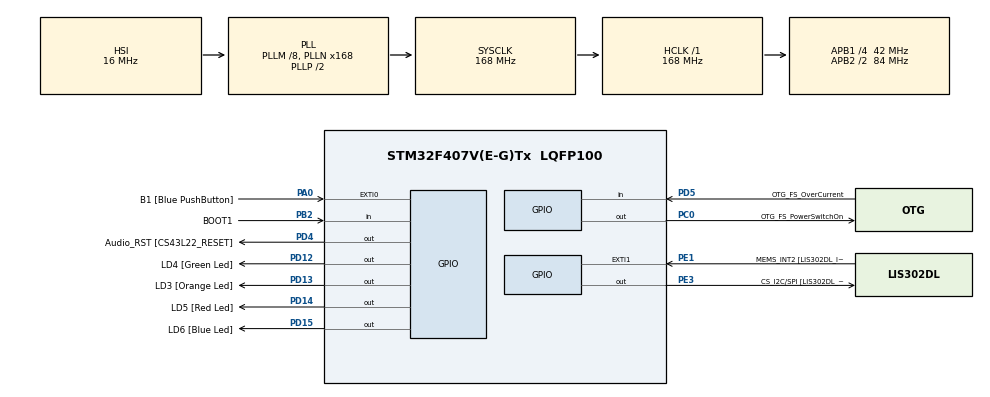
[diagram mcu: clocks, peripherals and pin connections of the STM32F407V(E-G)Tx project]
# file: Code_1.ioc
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Mcu.Family=STM32F4
Mcu.Name=STM32F407V(E-G)Tx
Mcu.Package=LQFP100
NVIC.PriorityGroup=NVIC_PRIORITYGROUP_4
NVIC.TIM6_DAC_IRQn=true\:0\:0\:false\:false\:true\:false\:true\:true
NVIC.TimeBase=TIM6_DAC_IRQn
NVIC.TimeBaseIP=TIM6
PA0-WKUP.GPIO_Label=B1 [Blue PushButton]
PA0-WKUP.Signal=GPXTI0
PA10.GPIO_Label=OTG_FS_ID
PA10.GPIO_Mode=GPIO_MODE_AF_PP
PA10.GPIO_PuPd=GPIO_NOPULL
PA10.GPIO_Speed=GPIO_SPEED_FREQ_LOW
PA10.Signal=USB_OTG_FS_ID
PA11.GPIO_Label=OTG_FS_DM
PA11.GPIO_Mode=GPIO_MODE_AF_PP
PA11.GPIO_PuPd=GPIO_NOPULL
PA11.GPIO_Speed=GPIO_SPEED_FREQ_LOW
PA11.Signal=USB_OTG_FS_DM
PA12.GPIO_Label=OTG_FS_DP
PA12.GPIO_Mode=GPIO_MODE_AF_PP
PA12.GPIO_PuPd=GPIO_NOPULL
PA12.GPIO_Speed=GPIO_SPEED_FREQ_LOW
PA12.Signal=USB_OTG_FS_DP
PA13.GPIO_Label=SWDIO
PA13.Signal=SYS_JTMS-SWDIO
PA14.GPIO_Label=SWCLK
PA14.Signal=SYS_JTCK-SWCLK
PA4.GPIO_Label=I2S3_WS [CS43L22_LRCK]
PA4.GPIO_Mode=GPIO_MODE_AF_PP
PA4.GPIO_PuPd=GPIO_NOPULL
PA4.GPIO_Speed=GPIO_SPEED_FREQ_LOW
PA4.Signal=I2S3_WS
PA5.GPIO_Label=SPI1_SCK [LIS302DL_SCL/SPC]
PA5.GPIO_Mode=GPIO_MODE_AF_PP
PA5.GPIO_PuPd=GPIO_NOPULL
PA5.GPIO_Speed=GPIO_SPEED_FREQ_LOW
PA5.Signal=SPI1_SCK
PA6.GPIO_Label=SPI1_MISO [LIS302DL_SDO]
PA6.GPIO_Mode=GPIO_MODE_AF_PP
PA6.GPIO_PuPd=GPIO_NOPULL
PA6.GPIO_Speed=GPIO_SPEED_FREQ_LOW
PA6.Signal=SPI1_MISO
PA7.GPIO_Label=SPI1_MOSI [LIS302DL_SDA/SDI/SDO]
PA7.GPIO_Mode=GPIO_MODE_AF_PP
PA7.GPIO_PuPd=GPIO_NOPULL
PA7.GPIO_Speed=GPIO_SPEED_FREQ_LOW
PA7.Signal=SPI1_MOSI
PA9.GPIO_Label=VBUS_FS
PA9.GPIO_Mode=GPIO_MODE_INPUT
PA9.GPIO_PuPd=GPIO_NOPULL
PA9.Signal=USB_OTG_FS_VBUS
PB10.GPIO_Label=CLK_IN [MP45DT02_CLK]
PB10.GPIO_Mode=GPIO_MODE_AF_PP
PB10.GPIO_PuPd=GPIO_NOPULL
PB10.GPIO_Speed=GPIO_SPEED_FREQ_LOW
PB10.Signal=I2S2_CK
PB2.GPIO_Label=BOOT1
PB2.GPIO_Mode=GPIO_MODE_INPUT
PB2.GPIO_PuPd=GPIO_NOPULL
PB2.Signal=GPIO_Input
PB3.GPIO_Label=SWO
PB3.Signal=SYS_JTDO-SWO
PB6.GPIO_Label=Audio_SCL [CS43L22_SCL]
PB6.GPIO_Mode=GPIO_MODE_AF_OD
PB6.GPIO_PuPd=GPIO_NOPULL
PB6.GPIO_Speed=GPIO_SPEED_FREQ_LOW
PB6.Signal=I2C1_SCL
PB9.GPIO_Label=Audio_SDA [CS43L22_SDA]
PB9.GPIO_Mode=GPIO_MODE_AF_OD
PB9.GPIO_PuPd=GPIO_NOPULL
PB9.GPIO_Speed=GPIO_SPEED_FREQ_LOW
PB9.Signal=I2C1_SDA
PC0.GPIO_Label=OTG_FS_PowerSwitchOn
PC0.GPIO_PuPd=GPIO_NOPULL
PC0.GPIO_Speed=GPIO_SPEED_FREQ_LOW
PC0.PinState=GPIO_PIN_SET
PC0.Signal=GPIO_Output
PC10.GPIO_Label=I2S3_SCK [CS43L22_SCLK]
PC10.GPIO_Mode=GPIO_MODE_AF_PP
PC10.GPIO_PuPd=GPIO_NOPULL
PC10.GPIO_Speed=GPIO_SPEED_FREQ_LOW
PC10.Signal=I2S3_CK
PC12.GPIO_Label=I2S3_SD [CS43L22_SDIN]
PC12.GPIO_Mode=GPIO_MODE_AF_PP
PC12.GPIO_PuPd=GPIO_NOPULL
PC12.GPIO_Speed=GPIO_SPEED_FREQ_LOW
PC12.Signal=I2S3_SD
PC14-OSC32_IN.GPIO_Label=PC14-OSC32_IN
PC14-OSC32_IN.Signal=RCC_OSC32_IN
PC15-OSC32_OUT.GPIO_Label=PC15-OSC32_OUT
PC15-OSC32_OUT.Signal=RCC_OSC32_OUT
PC3.GPIO_Label=PDM_OUT [MP45DT02_DOUT]
PC3.GPIO_Mode=GPIO_MODE_AF_PP
PC3.GPIO_PuPd=GPIO_NOPULL
PC3.GPIO_Speed=GPIO_SPEED_FREQ_LOW
PC3.Signal=I2S2_SD
PC7.GPIO_Label=I2S3_MCK [CS43L22_MCLK]
PC7.GPIO_Mode=GPIO_MODE_AF_PP
PC7.GPIO_PuPd=GPIO_NOPULL
PC7.GPIO_Speed=GPIO_SPEED_FREQ_LOW
PC7.Signal=I2S3_MCK
PD12.GPIO_Label=LD4 [Green Led]
PD12.GPIO_PuPd=GPIO_NOPULL
PD12.GPIO_Speed=GPIO_SPEED_FREQ_LOW
PD12.Signal=GPIO_Output
PD13.GPIO_Label=LD3 [Orange Led]
PD13.GPIO_PuPd=GPIO_NOPULL
PD13.GPIO_Speed=GPIO_SPEED_FREQ_LOW
PD13.Signal=GPIO_Output
PD14.GPIO_Label=LD5 [Red Led]
PD14.GPIO_PuPd=GPIO_NOPULL
PD14.GPIO_Speed=GPIO_SPEED_FREQ_LOW
PD14.Signal=GPIO_Output
PD15.GPIO_Label=LD6 [Blue Led]
PD15.GPIO_PuPd=GPIO_NOPULL
PD15.GPIO_Speed=GPIO_SPEED_FREQ_LOW
PD15.Signal=GPIO_Output
PD4.GPIO_Label=Audio_RST [CS43L22_RESET]
PD4.GPIO_PuPd=GPIO_NOPULL
PD4.GPIO_Speed=GPIO_SPEED_FREQ_LOW
PD4.Signal=GPIO_Output
PD5.GPIO_Label=OTG_FS_OverCurrent
PD5.GPIO_Mode=GPIO_MODE_INPUT
PD5.GPIO_PuPd=GPIO_NOPULL
PD5.Signal=GPIO_Input
PE1.GPIO_Label=MEMS_INT2 [LIS302DL_INT2]
PE1.GPIO_ModeDefaultEXTI=GPIO_MODE_EVT_RISING
PE1.GPIO_PuPd=GPIO_NOPULL
PE1.Signal=GPXTI1
PE3.GPIO_Label=CS_I2C/SPI [LIS302DL_CS_I2C/SPI]
PE3.GPIO_PuPd=GPIO_NOPULL
PE3.GPIO_Speed=GPIO_SPEED_FREQ_LOW
PE3.Signal=GPIO_Output
PH0-OSC_IN.GPIO_Label=PH0-OSC_IN
PH0-OSC_IN.Signal=RCC_OSC_IN
PH1-OSC_OUT.GPIO_Label=PH1-OSC_OUT
PH1-OSC_OUT.Signal=RCC_OSC_OUT
ProjectManager.HeapSize=0x200
ProjectManager.StackSize=0x400
ProjectManager.TargetToolchain=STM32CubeIDE
RCC.48MHZClocksFreq_Value=48000000
RCC.AHBFreq_Value=168000000
RCC.APB1CLKDivider=RCC_HCLK_DIV4
RCC.APB1Freq_Value=42000000
RCC.APB1TimFreq_Value=84000000
RCC.APB2CLKDivider=RCC_HCLK_DIV2
RCC.APB2Freq_Value=84000000
RCC.APB2TimFreq_Value=168000000
RCC.CortexFreq_Value=168000000
RCC.HCLKFreq_Value=168000000
RCC.HSE_VALUE=8000000
RCC.HSI_VALUE=16000000
RCC.LSE_VALUE=32768
RCC.PLLM=8
RCC.PLLN=168
RCC.PLLQ=7
RCC.SYSCLKFreq_VALUE=168000000
RCC.SYSCLKSource=RCC_SYSCLKSOURCE_PLLCLK
RCC.VCOOutputFreq_Value=336000000
VP_SYS_VS_tim6.Mode=TIM6
board=STM32F407G-DISC1

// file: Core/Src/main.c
/* USER CODE BEGIN Header */
/**
  ******************************************************************************
  * @file           : main.c
  * @brief          : Main program body
  ******************************************************************************
  * @attention
  *
  * Copyright (c) 2025 STMicroelectronics.
  * All rights reserved.
  *
  * This software is licensed under terms that can be found in the LICENSE file
  * in the root directory of this software component.
  * If no LICENSE file comes with this software, it is provided AS-IS.
  *
  ******************************************************************************
  */
/* USER CODE END Header */
#include "main.h"

/* USER CODE BEGIN Includes */
#include "FreeRTOS.h"
#include "task.h"
#include <stdio.h>
/* USER CODE END Includes */

/* USER CODE BEGIN PV */

#define DWT_CTRL	(*(volatile uint32_t *)0xE0001000)

/* USER CODE END PV */

void SystemClock_Config(void);
static void MX_GPIO_Init(void);
/* USER CODE BEGIN PFP */

void task_handler1(void *);
void task_handler2(void *);

extern void SEGGER_UART_init(uint32_t);
/* USER CODE END PFP */

int main(void)
{

  /* USER CODE BEGIN 1 */
	TaskHandle_t Task_Handler1, Task_Handler2;
	BaseType_t status;
  /* USER CODE END 1 */

  /* MCU Configuration--------------------------------------------------------*/

  /* Reset of all peripherals, Initializes the Flash interface and the Systick. */
  HAL_Init();

  /* Configure the system clock */
  SystemClock_Config();

  /* Initialize all configured peripherals */
  MX_GPIO_Init();
  /* USER CODE BEGIN 2 */
  SEGGER_UART_init(500000);
  //Enable CYCCNT counter
  DWT_CTRL |= ( 1 << 0);

  //SEGGER_UART_init(500000);
  SEGGER_SYSVIEW_Conf();
  //SEGGER_SYSVIEW_Start();

  status = xTaskCreate(task_handler1, "Task1", 200, "Hello from Task1", 4, &Task_Handler1);
  configASSERT(status == pdPASS);

  status = xTaskCreate(task_handler2, "Task2", 200, "Hello from Task2", 4, &Task_Handler2);
  configASSERT(status == pdPASS);

  vTaskStartScheduler();

  // Insufficient memory in heap then control comes here
  /* USER CODE END 2 */

  /* Infinite loop */
  while (1)
  {

  }
}

void SystemClock_Config(void)
{
  RCC_OscInitTypeDef RCC_OscInitStruct = {0};
  RCC_ClkInitTypeDef RCC_ClkInitStruct = {0};

  /** Configure the main internal regulator output voltage
  */
  __HAL_RCC_PWR_CLK_ENABLE();
  __HAL_PWR_VOLTAGESCALING_CONFIG(PWR_REGULATOR_VOLTAGE_SCALE1);

  /** Initializes the RCC Oscillators according to the specified parameters
  * in the RCC_OscInitTypeDef structure.
  */
  RCC_OscInitStruct.OscillatorType = RCC_OSCILLATORTYPE_HSI;
  RCC_OscInitStruct.HSIState = RCC_HSI_ON;
  RCC_OscInitStruct.HSICalibrationValue = RCC_HSICALIBRATION_DEFAULT;
  RCC_OscInitStruct.PLL.PLLState = RCC_PLL_ON;
  RCC_OscInitStruct.PLL.PLLSource = RCC_PLLSOURCE_HSI;
  RCC_OscInitStruct.PLL.PLLM = 8;
  RCC_OscInitStruct.PLL.PLLN = 168;
  RCC_OscInitStruct.PLL.PLLP = RCC_PLLP_DIV2;
  RCC_OscInitStruct.PLL.PLLQ = 7;
  if (HAL_RCC_OscConfig(&RCC_OscInitStruct) != HAL_OK)
  {
    Error_Handler();
  }

  /** Initializes the CPU, AHB and APB buses clocks
  */
  RCC_ClkInitStruct.ClockType = RCC_CLOCKTYPE_HCLK|RCC_CLOCKTYPE_SYSCLK
                              |RCC_CLOCKTYPE_PCLK1|RCC_CLOCKTYPE_PCLK2;
  RCC_ClkInitStruct.SYSCLKSource = RCC_SYSCLKSOURCE_PLLCLK;
  RCC_ClkInitStruct.AHBCLKDivider = RCC_SYSCLK_DIV1;
  RCC_ClkInitStruct.APB1CLKDivider = RCC_HCLK_DIV4;
  RCC_ClkInitStruct.APB2CLKDivider = RCC_HCLK_DIV2;

  if (HAL_RCC_ClockConfig(&RCC_ClkInitStruct, FLASH_LATENCY_5) != HAL_OK)
  {
    Error_Handler();
  }
}

static void MX_GPIO_Init(void)
{
  GPIO_InitTypeDef GPIO_InitStruct = {0};

  /* GPIO Ports Clock Enable */
  __HAL_RCC_GPIOE_CLK_ENABLE();
  __HAL_RCC_GPIOC_CLK_ENABLE();
  __HAL_RCC_GPIOH_CLK_ENABLE();
  __HAL_RCC_GPIOA_CLK_ENABLE();
  __HAL_RCC_GPIOB_CLK_ENABLE();
  __HAL_RCC_GPIOD_CLK_ENABLE();

  /*Configure GPIO pin Output Level */
  HAL_GPIO_WritePin(CS_I2C_SPI_GPIO_Port, CS_I2C_SPI_Pin, GPIO_PIN_RESET);

  /*Configure GPIO pin Output Level */
  HAL_GPIO_WritePin(OTG_FS_PowerSwitchOn_GPIO_Port, OTG_FS_PowerSwitchOn_Pin, GPIO_PIN_SET);

  /*Configure GPIO pin Output Level */
  HAL_GPIO_WritePin(GPIOD, LD4_Pin|LD3_Pin|LD5_Pin|LD6_Pin
                          |Audio_RST_Pin, GPIO_PIN_RESET);

  /*Configure GPIO pin : CS_I2C_SPI_Pin */
  GPIO_InitStruct.Pin = CS_I2C_SPI_Pin;
  GPIO_InitStruct.Mode = GPIO_MODE_OUTPUT_PP;
  GPIO_InitStruct.Pull = GPIO_NOPULL;
  GPIO_InitStruct.Speed = GPIO_SPEED_FREQ_LOW;
  HAL_GPIO_Init(CS_I2C_SPI_GPIO_Port, &GPIO_InitStruct);

  /*Configure GPIO pin : OTG_FS_PowerSwitchOn_Pin */
  GPIO_InitStruct.Pin = OTG_FS_PowerSwitchOn_Pin;
  GPIO_InitStruct.Mode = GPIO_MODE_OUTPUT_PP;
  GPIO_InitStruct.Pull = GPIO_NOPULL;
  GPIO_InitStruct.Speed = GPIO_SPEED_FREQ_LOW;
  HAL_GPIO_Init(OTG_FS_PowerSwitchOn_GPIO_Port, &GPIO_InitStruct);

  /*Configure GPIO pin : PDM_OUT_Pin */
  GPIO_InitStruct.Pin = PDM_OUT_Pin;
  GPIO_InitStruct.Mode = GPIO_MODE_AF_PP;
  GPIO_InitStruct.Pull = GPIO_NOPULL;
  GPIO_InitStruct.Speed = GPIO_SPEED_FREQ_LOW;
  GPIO_InitStruct.Alternate = GPIO_AF5_SPI2;
  HAL_GPIO_Init(PDM_OUT_GPIO_Port, &GPIO_InitStruct);

  /*Configure GPIO pin : B1_Pin */
  GPIO_InitStruct.Pin = B1_Pin;
  GPIO_InitStruct.Mode = GPIO_MODE_IT_RISING;
  GPIO_InitStruct.Pull = GPIO_NOPULL;
  HAL_GPIO_Init(B1_GPIO_Port, &GPIO_InitStruct);

  /*Configure GPIO pin : I2S3_WS_Pin */
  GPIO_InitStruct.Pin = I2S3_WS_Pin;
  GPIO_InitStruct.Mode = GPIO_MODE_AF_PP;
  GPIO_InitStruct.Pull = GPIO_NOPULL;
  GPIO_InitStruct.Speed = GPIO_SPEED_FREQ_LOW;
  GPIO_InitStruct.Alternate = GPIO_AF6_SPI3;
  HAL_GPIO_Init(I2S3_WS_GPIO_Port, &GPIO_InitStruct);

  /*Configure GPIO pins : SPI1_SCK_Pin SPI1_MISO_Pin SPI1_MOSI_Pin */
  GPIO_InitStruct.Pin = SPI1_SCK_Pin|SPI1_MISO_Pin|SPI1_MOSI_Pin;
  GPIO_InitStruct.Mode = GPIO_MODE_AF_PP;
  GPIO_InitStruct.Pull = GPIO_NOPULL;
  GPIO_InitStruct.Speed = GPIO_SPEED_FREQ_LOW;
  GPIO_InitStruct.Alternate = GPIO_AF5_SPI1;
  HAL_GPIO_Init(GPIOA, &GPIO_InitStruct);

  /*Configure GPIO pin : BOOT1_Pin */
  GPIO_InitStruct.Pin = BOOT1_Pin;
  GPIO_InitStruct.Mode = GPIO_MODE_INPUT;
  GPIO_InitStruct.Pull = GPIO_NOPULL;
  HAL_GPIO_Init(BOOT1_GPIO_Port, &GPIO_InitStruct);

  /*Configure GPIO pin : CLK_IN_Pin */
  GPIO_InitStruct.Pin = CLK_IN_Pin;
  GPIO_InitStruct.Mode = GPIO_MODE_AF_PP;
  GPIO_InitStruct.Pull = GPIO_NOPULL;
  GPIO_InitStruct.Speed = GPIO_SPEED_FREQ_LOW;
  GPIO_InitStruct.Alternate = GPIO_AF5_SPI2;
  HAL_GPIO_Init(CLK_IN_GPIO_Port, &GPIO_InitStruct);

  /*Configure GPIO pins : LD4_Pin LD3_Pin LD5_Pin LD6_Pin
                           Audio_RST_Pin */
  GPIO_InitStruct.Pin = LD4_Pin|LD3_Pin|LD5_Pin|LD6_Pin
                          |Audio_RST_Pin;
  GPIO_InitStruct.Mode = GPIO_MODE_OUTPUT_PP;
  GPIO_InitStruct.Pull = GPIO_NOPULL;
  GPIO_InitStruct.Speed = GPIO_SPEED_FREQ_LOW;
  HAL_GPIO_Init(GPIOD, &GPIO_InitStruct);

  /*Configure GPIO pins : I2S3_MCK_Pin I2S3_SCK_Pin I2S3_SD_Pin */
  GPIO_InitStruct.Pin = I2S3_MCK_Pin|I2S3_SCK_Pin|I2S3_SD_Pin;
  GPIO_InitStruct.Mode = GPIO_MODE_AF_PP;
  GPIO_InitStruct.Pull = GPIO_NOPULL;
  GPIO_InitStruct.Speed = GPIO_SPEED_FREQ_LOW;
  GPIO_InitStruct.Alternate = GPIO_AF6_SPI3;
  HAL_GPIO_Init(GPIOC, &GPIO_InitStruct);

  /*Configure GPIO pin : VBUS_FS_Pin */
  GPIO_InitStruct.Pin = VBUS_FS_Pin;
  GPIO_InitStruct.Mode = GPIO_MODE_INPUT;
  GPIO_InitStruct.Pull = GPIO_NOPULL;
  HAL_GPIO_Init(VBUS_FS_GPIO_Port, &GPIO_InitStruct);

  /*Configure GPIO pins : OTG_FS_ID_Pin OTG_FS_DM_Pin OTG_FS_DP_Pin */
  GPIO_InitStruct.Pin = OTG_FS_ID_Pin|OTG_FS_DM_Pin|OTG_FS_DP_Pin;
  GPIO_InitStruct.Mode = GPIO_MODE_AF_PP;
  GPIO_InitStruct.Pull = GPIO_NOPULL;
  GPIO_InitStruct.Speed = GPIO_SPEED_FREQ_LOW;
  GPIO_InitStruct.Alternate = GPIO_AF10_OTG_FS;
  HAL_GPIO_Init(GPIOA, &GPIO_InitStruct);

  /*Configure GPIO pin : OTG_FS_OverCurrent_Pin */
  GPIO_InitStruct.Pin = OTG_FS_OverCurrent_Pin;
  GPIO_InitStruct.Mode = GPIO_MODE_INPUT;
  GPIO_InitStruct.Pull = GPIO_NOPULL;
  HAL_GPIO_Init(OTG_FS_OverCurrent_GPIO_Port, &GPIO_InitStruct);

  /*Configure GPIO pins : Audio_SCL_Pin Audio_SDA_Pin */
  GPIO_InitStruct.Pin = Audio_SCL_Pin|Audio_SDA_Pin;
  GPIO_InitStruct.Mode = GPIO_MODE_AF_OD;
  GPIO_InitStruct.Pull = GPIO_NOPULL;
  GPIO_InitStruct.Speed = GPIO_SPEED_FREQ_LOW;
  GPIO_InitStruct.Alternate = GPIO_AF4_I2C1;
  HAL_GPIO_Init(GPIOB, &GPIO_InitStruct);

  /*Configure GPIO pin : MEMS_INT2_Pin */
  GPIO_InitStruct.Pin = MEMS_INT2_Pin;
  GPIO_InitStruct.Mode = GPIO_MODE_EVT_RISING;
  GPIO_InitStruct.Pull = GPIO_NOPULL;
  HAL_GPIO_Init(MEMS_INT2_GPIO_Port, &GPIO_InitStruct);

}

/* USER CODE BEGIN 4 */

void task_handler1(void *data) {

	char Segger_data[128];
	while(1) {
		//printf("%s\n", (char *)data);
		snprintf(Segger_data, sizeof(Segger_data), "%s\n", (char *)data);
		SEGGER_SYSVIEW_PrintfTarget(Segger_data);
		taskYIELD(); //Used to make freeRTOS to operate in co-operative method
					// To Do this disable configUSE_PREEMPTION to 0 in FreeRTOSConfig.h
	}
}

void task_handler2(void *data) {
	char Segger_data[128];
	while(1) {
		//printf("%s\n", (char *)data);
		snprintf(Segger_data, sizeof(Segger_data), "%s\n", (char *)data);
		SEGGER_SYSVIEW_PrintfTarget(Segger_data);
		taskYIELD();
	}
}

/* USER CODE END 4 */

void HAL_TIM_PeriodElapsedCallback(TIM_HandleTypeDef *htim)
{
  if (htim->Instance == TIM6)
  {
    HAL_IncTick();
  }
}

void Error_Handler(void)
{
  __disable_irq();
  while (1)
  {
  }
}
